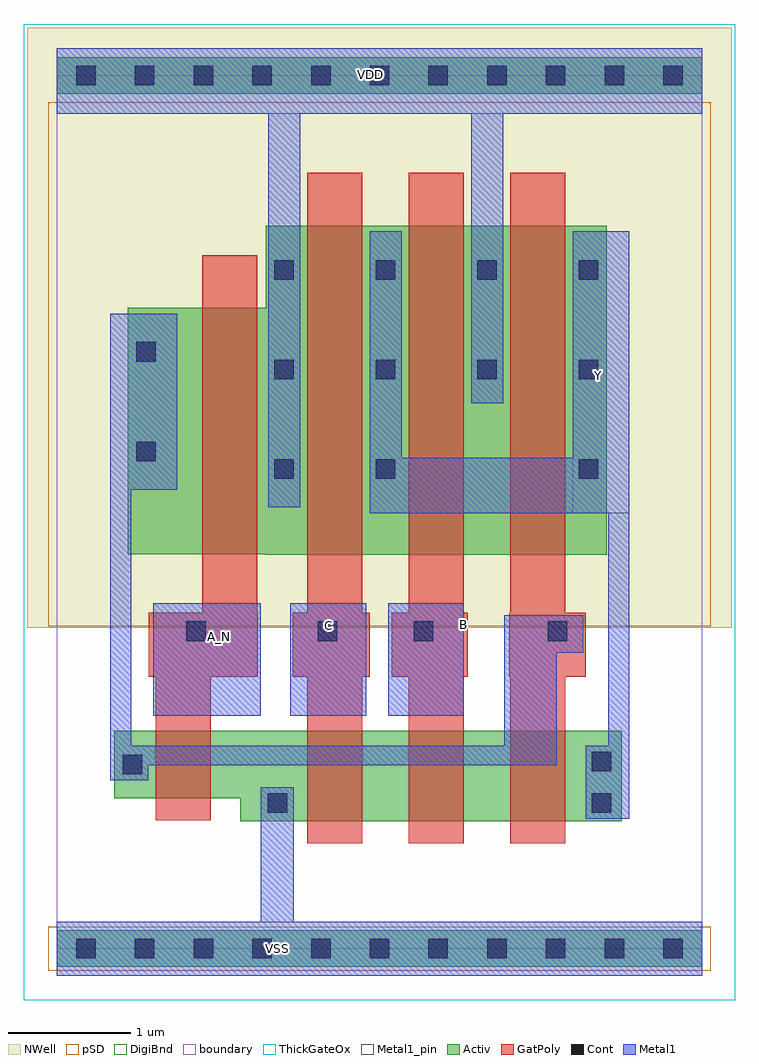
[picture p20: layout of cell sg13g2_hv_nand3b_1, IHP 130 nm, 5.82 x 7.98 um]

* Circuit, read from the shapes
.subckt sg13g2_hv_nand3b_1 A_N B C VDD VSS Y
XM1 VSS A_N n1 VSS sg13_hv_nmos w=0.55u l=0.45u
XM2 n2 C VSS VSS sg13_hv_nmos w=0.74u l=0.45u
XM3 n3 B n2 VSS sg13_hv_nmos w=0.74u l=0.45u
XM4 Y n1 n3 VSS sg13_hv_nmos w=0.74u l=0.45u
XM5 VDD A_N n1 VDD sg13_hv_pmos w=2.015u l=0.45u
XM6 Y C VDD VDD sg13_hv_pmos w=2.69u l=0.45u
XM7 VDD B Y VDD sg13_hv_pmos w=2.69u l=0.45u
XM8 Y n1 VDD VDD sg13_hv_pmos w=2.69u l=0.45u
.ends

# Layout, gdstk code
import gdstk
lib = gdstk.Library(unit=1e-6, precision=1e-09)
def R(c, l, rs):  # rectangles x0, y0, x1, y1
    for r in rs: c.add(gdstk.rectangle(r[:2], r[2:], *l))
def A(c, l, x, y, w, h, nx, ny, dx, dy):  # array of equal rectangles
    R(c, l, [(x+i*dx, y+j*dy, x+i*dx+w, y+j*dy+h) for i in range(nx) for j in range(ny)])
def P(c, l, *ps):  # polygons
    for p in ps: c.add(gdstk.Polygon(p, *l))
Activ = (1, 0)
GatPoly = (5, 0)
Cont = (6, 0)
Metal1 = (8, 0)
Metal1_pin = (8, 2)
pSD = (14, 0)
DigiBnd = (16, 0)
NWell = (31, 0)
ThickGateOx = (44, 0)
boundary = (189, 4)

sg13g2_hv_nand3b_1 = lib.new_cell('sg13g2_hv_nand3b_1')
R(sg13g2_hv_nand3b_1, Activ, [(0,-0.15,5.28,0.15), (0,6.99,5.28,7.29)])
P(sg13g2_hv_nand3b_1, Activ, [(1.5,1.04),(1.5,1.23),(0.47,1.23),(0.47,1.78),(4.62,1.78),(4.62,1.04)],
  [(1.71,3.22),(1.71,3.225),(0.58,3.225),(0.58,5.24),(1.71,5.24),(1.71,5.91),(4.5,5.91),(4.5,3.22)])
P(sg13g2_hv_nand3b_1, GatPoly, [(3.71,0.86),(3.71,2.225),(3.7,2.225),(3.7,2.745),(3.71,2.745),(3.71,6.345),(4.16,6.345),(4.16,2.745),(4.325,2.745),(4.325,2.225),(4.16,2.225),(4.16,0.86)],
  [(0.81,1.05),(0.81,2.225),(0.755,2.225),(0.755,2.745),(1.19,2.745),(1.19,5.67),(1.64,5.67),(1.64,2.745),(1.645,2.745),(1.645,2.225),(1.26,2.225),(1.26,1.05)],
  [(2.05,0.86),(2.05,2.225),(1.93,2.225),(1.93,2.745),(2.05,2.745),(2.05,6.345),(2.5,6.345),(2.5,2.745),(2.56,2.745),(2.56,2.225),(2.5,2.225),(2.5,0.86)],
  [(2.88,0.86),(2.88,2.225),(2.74,2.225),(2.74,2.745),(2.88,2.745),(2.88,6.345),(3.33,6.345),(3.33,2.745),(3.36,2.745),(3.36,2.225),(3.33,2.225),(3.33,0.86)])
A(sg13g2_hv_nand3b_1, Cont, 0.16, -0.08, 0.16, 0.16, 11, 2, 0.48, 7.14)
A(sg13g2_hv_nand3b_1, Cont, 1.78, 4.655, 0.16, 0.16, 4, 2, 0.83, 0.815)
R(sg13g2_hv_nand3b_1, Cont, [(1.725,1.11,1.885,1.27), (4.375,1.11,4.535,1.27), (0.54,1.425,0.7,1.585), (4.375,1.45,4.535,1.61), (1.06,2.515,1.22,2.675), (2.135,2.515,2.295,2.675), (2.92,2.515,3.08,2.675), (4.015,2.515,4.175,2.675), (1.78,3.84,1.94,4), (2.61,3.84,2.77,4), (4.27,3.84,4.43,4), (0.65,3.985,0.81,4.145), (0.65,4.8,0.81,4.96)])
R(sg13g2_hv_nand3b_1, Metal1, [(0.79,1.905,1.67,2.825), (1.91,1.905,2.53,2.825), (2.71,1.905,3.33,2.825)])
P(sg13g2_hv_nand3b_1, Metal1, [(4.325,1.06),(4.325,1.66),(4.51,1.66),(4.51,3.56),(2.56,3.56),(2.56,5.865),(2.82,5.865),(2.82,4.015),(4.22,4.015),(4.22,5.865),(4.68,5.865),(4.68,1.06)],
  [(1.73,3.61),(1.73,6.825),(0,6.825),(0,7.36),(5.28,7.36),(5.28,6.825),(3.65,6.825),(3.65,4.46),(3.39,4.46),(3.39,6.825),(1.99,6.825),(1.99,3.61)],
  [(0,-0.22),(0,0.22),(1.67,0.22),(1.67,1.32),(1.94,1.32),(1.94,0.22),(5.28,0.22),(5.28,-0.22)],
  [(0.44,1.375),(0.44,5.19),(0.985,5.19),(0.985,3.75),(0.61,3.75),(0.61,1.66),(3.66,1.66),(3.66,2.725),(4.305,2.725),(4.305,2.42),(4.09,2.42),(4.09,1.5),(0.75,1.5),(0.75,1.375)])
R(sg13g2_hv_nand3b_1, Metal1_pin, [(0,-0.22,5.28,0.22), (0.79,1.905,1.67,2.825), (1.91,1.905,2.53,2.825), (2.71,1.905,3.33,2.825), (4.22,3.56,4.68,5.865), (0,6.825,5.28,7.36)])
R(sg13g2_hv_nand3b_1, pSD, [(-0.07,-0.18,5.35,0.18), (-0.07,2.635,5.35,6.92)])
R(sg13g2_hv_nand3b_1, DigiBnd, [(0,0,5.28,7.14)])
R(sg13g2_hv_nand3b_1, NWell, [(-0.24,2.625,5.52,7.53)])
R(sg13g2_hv_nand3b_1, ThickGateOx, [(-0.27,-0.42,5.55,7.56)])
R(sg13g2_hv_nand3b_1, boundary, [(0,0,5.28,7.14)])
sg13g2_hv_nand3b_1.add(gdstk.Label('A_N', (1.33,2.555), layer=8, texttype=25))
sg13g2_hv_nand3b_1.add(gdstk.Label('Y', (4.43,4.69), layer=8, texttype=25))
sg13g2_hv_nand3b_1.add(gdstk.Label('VDD', (2.565,7.145), layer=8, texttype=25))
sg13g2_hv_nand3b_1.add(gdstk.Label('VSS', (1.805,0), layer=8, texttype=25))
sg13g2_hv_nand3b_1.add(gdstk.Label('B', (3.33,2.65), layer=8, texttype=25))
sg13g2_hv_nand3b_1.add(gdstk.Label('C', (2.225,2.645), layer=8, texttype=25))

lib.write_gds('sg13g2_hv_nand3b_1.gds')
